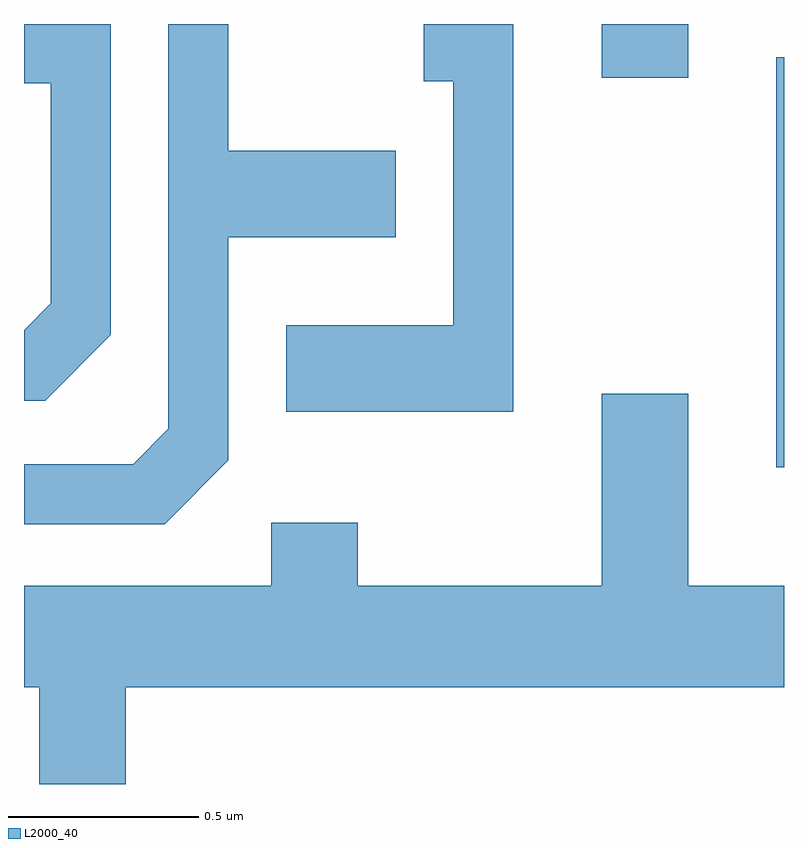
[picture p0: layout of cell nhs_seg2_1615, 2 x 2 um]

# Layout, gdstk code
import gdstk
lib = gdstk.Library(unit=1e-6, precision=1e-09)
def R(c, l, rs):  # rectangles x0, y0, x1, y1
    for r in rs: c.add(gdstk.rectangle(r[:2], r[2:], *l))
def P(c, l, *ps):  # polygons
    for p in ps: c.add(gdstk.Polygon(p, *l))
L2000_40 = (2000, 40)

nhs_seg2_1615 = lib.new_cell('nhs_seg2_1615')
R(nhs_seg2_1615, L2000_40, [(198.591,1086.636,198.611,1087.714), (198.131,1087.661,198.359,1087.802)])
P(nhs_seg2_1615, L2000_40, [(197.149,1086.654),(197.149,1087.241),(197.589,1087.241),(197.589,1087.469),(197.149,1087.469),(197.149,1087.802),(196.991,1087.802),(196.991,1086.737),(196.899,1086.644),(196.611,1086.644),(196.611,1086.486),(196.982,1086.486)],
  [(196.839,1086.984),(196.839,1087.802),(196.611,1087.802),(196.611,1087.646),(196.681,1087.646),(196.681,1087.067),(196.611,1086.996),(196.611,1086.811),(196.667,1086.811)],
  [(197.899,1087.802),(197.663,1087.802),(197.663,1087.651),(197.741,1087.651),(197.741,1087.009),(197.301,1087.009),(197.301,1086.781),(197.899,1086.781)],
  [(196.879,1086.056),(198.611,1086.056),(198.611,1086.324),(198.359,1086.324),(198.359,1086.829),(198.131,1086.829),(198.131,1086.324),(197.489,1086.324),(197.489,1086.489),(197.261,1086.489),(197.261,1086.324),(196.611,1086.324),(196.611,1086.056),(196.651,1086.056),(196.651,1085.802),(196.879,1085.802)])

lib.write_gds('nhs_seg2_1615.gds')
